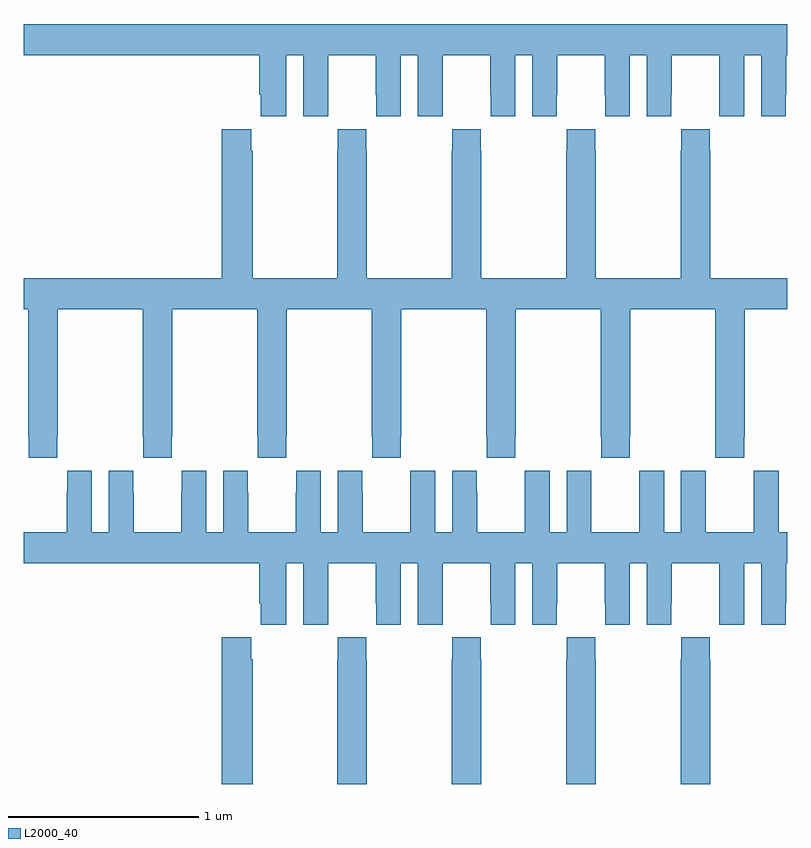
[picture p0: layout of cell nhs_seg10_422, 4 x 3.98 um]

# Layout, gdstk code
import gdstk
lib = gdstk.Library(unit=1e-6, precision=1e-09)
def P(c, l, *ps):  # polygons
    for p in ps: c.add(gdstk.Polygon(p, *l))
L2000_40 = (2000, 40)

nhs_seg10_422 = lib.new_cell('nhs_seg10_422')
P(nhs_seg10_422, L2000_40, [(132.376,1296.32),(132.464,1296.32),(132.464,1296),(132.594,1296),(132.594,1296.112),(132.595,1296.112),(132.595,1296.32),(132.845,1296.32),(132.845,1296.112),(132.846,1296.112),(132.846,1296),(132.976,1296),(132.976,1296.32),(133.064,1296.32),(133.064,1296),(133.194,1296),(133.194,1296.112),(133.195,1296.112),(133.195,1296.32),(133.445,1296.32),(133.445,1296.112),(133.446,1296.112),(133.446,1296),(133.576,1296),(133.576,1296.32),(133.664,1296.32),(133.664,1296),(133.794,1296),(133.794,1296.112),(133.795,1296.112),(133.795,1296.32),(134.045,1296.32),(134.045,1296.112),(134.046,1296.112),(134.046,1296),(134.176,1296),(134.176,1296.32),(134.264,1296.32),(134.264,1296),(134.394,1296),(134.394,1296.112),(134.395,1296.112),(134.395,1296.32),(134.645,1296.32),(134.645,1296.112),(134.646,1296.112),(134.646,1296),(134.776,1296),(134.776,1296.32),(134.864,1296.32),(134.864,1296),(134.994,1296),(134.994,1296.112),(134.995,1296.112),(134.995,1296.32),(135,1296.32),(135,1296.484),(131,1296.484),(131,1296.32),(132.233,1296.32),(132.233,1296.112),(132.242,1296.112),(132.242,1296),(132.376,1296)],
  [(131.175,1294.321),(131.178,1294.321),(131.178,1294.988),(131.623,1294.988),(131.623,1294.321),(131.625,1294.321),(131.625,1294.209),(131.775,1294.209),(131.775,1294.321),(131.778,1294.321),(131.778,1294.988),(132.223,1294.988),(132.223,1294.321),(132.225,1294.321),(132.225,1294.209),(132.375,1294.209),(132.375,1294.321),(132.378,1294.321),(132.378,1294.988),(132.823,1294.988),(132.823,1294.321),(132.825,1294.321),(132.825,1294.209),(132.975,1294.209),(132.975,1294.321),(132.978,1294.321),(132.978,1294.988),(133.423,1294.988),(133.423,1294.321),(133.425,1294.321),(133.425,1294.209),(133.575,1294.209),(133.575,1294.321),(133.578,1294.321),(133.578,1294.988),(134.023,1294.988),(134.023,1294.321),(134.025,1294.321),(134.025,1294.209),(134.175,1294.209),(134.175,1294.321),(134.178,1294.321),(134.178,1294.988),(134.623,1294.988),(134.623,1294.321),(134.625,1294.321),(134.625,1294.209),(134.775,1294.209),(134.775,1294.321),(134.778,1294.321),(134.778,1294.988),(135,1294.988),(135,1295.152),(134.598,1295.152),(134.598,1295.819),(134.595,1295.819),(134.595,1295.932),(134.445,1295.932),(134.445,1295.819),(134.443,1295.819),(134.443,1295.152),(133.998,1295.152),(133.998,1295.819),(133.995,1295.819),(133.995,1295.932),(133.845,1295.932),(133.845,1295.819),(133.843,1295.819),(133.843,1295.152),(133.398,1295.152),(133.398,1295.819),(133.395,1295.819),(133.395,1295.932),(133.245,1295.932),(133.245,1295.819),(133.243,1295.819),(133.243,1295.152),(132.798,1295.152),(132.798,1295.819),(132.795,1295.819),(132.795,1295.932),(132.645,1295.932),(132.645,1295.819),(132.643,1295.819),(132.643,1295.152),(132.198,1295.152),(132.198,1295.819),(132.191,1295.819),(132.191,1295.932),(132.038,1295.932),(132.038,1295.152),(131,1295.152),(131,1294.988),(131.023,1294.988),(131.023,1294.321),(131.025,1294.321),(131.025,1294.209),(131.175,1294.209)],
  [(133.844,1294.141),(133.844,1293.82),(133.756,1293.82),(133.756,1294.141),(133.626,1294.141),(133.626,1294.028),(133.625,1294.028),(133.625,1293.82),(133.375,1293.82),(133.375,1294.028),(133.374,1294.028),(133.374,1294.141),(133.244,1294.141),(133.244,1293.82),(133.156,1293.82),(133.156,1294.141),(133.026,1294.141),(133.026,1294.028),(133.025,1294.028),(133.025,1293.82),(132.775,1293.82),(132.775,1294.028),(132.774,1294.028),(132.774,1294.141),(132.644,1294.141),(132.644,1293.82),(132.556,1293.82),(132.556,1294.141),(132.426,1294.141),(132.426,1294.028),(132.425,1294.028),(132.425,1293.82),(132.175,1293.82),(132.175,1294.028),(132.174,1294.028),(132.174,1294.141),(132.044,1294.141),(132.044,1293.82),(131.956,1293.82),(131.956,1294.141),(131.826,1294.141),(131.826,1294.028),(131.825,1294.028),(131.825,1293.82),(131.575,1293.82),(131.575,1294.028),(131.574,1294.028),(131.574,1294.141),(131.444,1294.141),(131.444,1293.82),(131.356,1293.82),(131.356,1294.141),(131.226,1294.141),(131.226,1294.028),(131.225,1294.028),(131.225,1293.82),(131,1293.82),(131,1293.656),(132.233,1293.656),(132.233,1293.448),(132.242,1293.448),(132.242,1293.336),(132.376,1293.336),(132.376,1293.656),(132.464,1293.656),(132.464,1293.336),(132.594,1293.336),(132.594,1293.448),(132.595,1293.448),(132.595,1293.656),(132.845,1293.656),(132.845,1293.448),(132.846,1293.448),(132.846,1293.336),(132.976,1293.336),(132.976,1293.656),(133.064,1293.656),(133.064,1293.336),(133.194,1293.336),(133.194,1293.448),(133.195,1293.448),(133.195,1293.656),(133.445,1293.656),(133.445,1293.448),(133.446,1293.448),(133.446,1293.336),(133.576,1293.336),(133.576,1293.656),(133.664,1293.656),(133.664,1293.336),(133.794,1293.336),(133.794,1293.448),(133.795,1293.448),(133.795,1293.656),(134.045,1293.656),(134.045,1293.448),(134.046,1293.448),(134.046,1293.336),(134.176,1293.336),(134.176,1293.656),(134.264,1293.656),(134.264,1293.336),(134.394,1293.336),(134.394,1293.448),(134.395,1293.448),(134.395,1293.656),(134.645,1293.656),(134.645,1293.448),(134.646,1293.448),(134.646,1293.336),(134.776,1293.336),(134.776,1293.656),(134.864,1293.656),(134.864,1293.336),(134.994,1293.336),(134.994,1293.448),(134.995,1293.448),(134.995,1293.656),(135,1293.656),(135,1293.82),(134.956,1293.82),(134.956,1294.141),(134.826,1294.141),(134.826,1294.028),(134.825,1294.028),(134.825,1293.82),(134.575,1293.82),(134.575,1294.028),(134.574,1294.028),(134.574,1294.141),(134.444,1294.141),(134.444,1293.82),(134.356,1293.82),(134.356,1294.141),(134.226,1294.141),(134.226,1294.028),(134.225,1294.028),(134.225,1293.82),(133.975,1293.82),(133.975,1294.028),(133.974,1294.028),(133.974,1294.141)],
  [(132.198,1293.155),(132.191,1293.155),(132.191,1293.268),(132.038,1293.268),(132.038,1292.5),(132.198,1292.5)],
  [(132.798,1293.155),(132.795,1293.155),(132.795,1293.268),(132.645,1293.268),(132.645,1293.155),(132.643,1293.155),(132.643,1292.5),(132.798,1292.5)],
  [(134.598,1293.155),(134.595,1293.155),(134.595,1293.268),(134.445,1293.268),(134.445,1293.155),(134.443,1293.155),(134.443,1292.5),(134.598,1292.5)],
  [(133.398,1293.155),(133.395,1293.155),(133.395,1293.268),(133.245,1293.268),(133.245,1293.155),(133.243,1293.155),(133.243,1292.5),(133.398,1292.5)],
  [(133.998,1293.155),(133.995,1293.155),(133.995,1293.268),(133.845,1293.268),(133.845,1293.155),(133.843,1293.155),(133.843,1292.5),(133.998,1292.5)])

lib.write_gds('nhs_seg10_422.gds')
